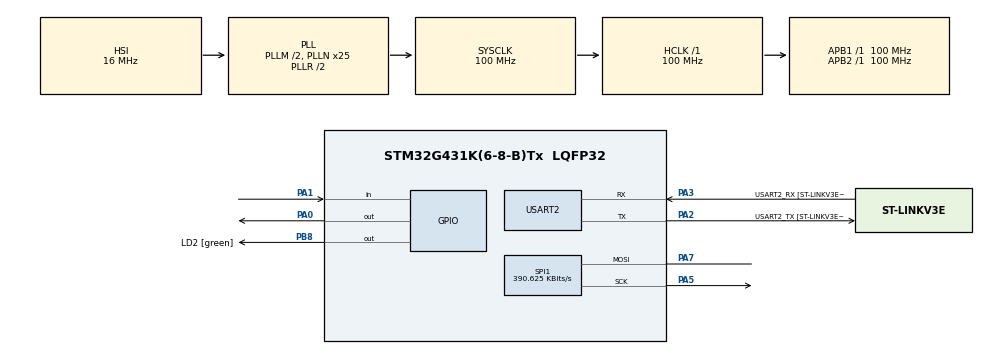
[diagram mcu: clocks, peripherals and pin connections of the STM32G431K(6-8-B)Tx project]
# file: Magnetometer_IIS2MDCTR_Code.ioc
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Mcu.Family=STM32G4
Mcu.Name=STM32G431K(6-8-B)Tx
Mcu.Package=LQFP32
NVIC.PriorityGroup=NVIC_PRIORITYGROUP_4
PA0.Signal=GPIO_Output
PA1.Signal=GPIO_Input
PA13.GPIO_Label=T_SWDIO
PA13.Mode=Serial_Wire
PA13.Signal=SYS_JTMS-SWDIO
PA14.GPIO_Label=T_SWCLK
PA14.Mode=Serial_Wire
PA14.Signal=SYS_JTCK-SWCLK
PA2.GPIO_Label=USART2_TX [ST-LINKV3E_VCP_RX]
PA2.Mode=Asynchronous
PA2.Signal=USART2_TX
PA3.GPIO_Label=USART2_RX [ST-LINKV3E_VCP_TX]
PA3.Mode=Asynchronous
PA3.Signal=USART2_RX
PA5.Mode=Simplex_Bidirectional_Master
PA5.Signal=SPI1_SCK
PA7.Mode=Simplex_Bidirectional_Master
PA7.Signal=SPI1_MOSI
PB3.GPIO_Label=T_SWO
PB3.Signal=SYS_JTDO-SWO
PB8-BOOT0.GPIO_Label=LD2 [green]
PB8-BOOT0.Signal=GPIO_Output
ProjectManager.HeapSize=0x200
ProjectManager.StackSize=0x400
ProjectManager.TargetToolchain=STM32CubeIDE
RCC.ADC12Freq_Value=100000000
RCC.AHBFreq_Value=100000000
RCC.APB1Freq_Value=100000000
RCC.APB1TimFreq_Value=100000000
RCC.APB2Freq_Value=100000000
RCC.APB2TimFreq_Value=100000000
RCC.CortexFreq_Value=100000000
RCC.EXTERNAL_CLOCK_VALUE=12288000
RCC.HCLKFreq_Value=100000000
RCC.HSE_VALUE=8000000
RCC.HSI48_VALUE=48000000
RCC.HSI_VALUE=16000000
RCC.LSE_VALUE=32768
RCC.PLLM=RCC_PLLM_DIV2
RCC.PLLN=25
RCC.SYSCLKFreq_VALUE=100000000
RCC.SYSCLKSource=RCC_SYSCLKSOURCE_PLLCLK
RCC.USBFreq_Value=100000000
RCC.VCOOutputFreq_Value=200000000
SPI1.BaudRatePrescaler=SPI_BAUDRATEPRESCALER_256
SPI1.CLKPhase=SPI_PHASE_2EDGE
SPI1.CLKPolarity=SPI_POLARITY_HIGH
SPI1.CalculateBaudRate=390.625 KBits/s
SPI1.DataSize=SPI_DATASIZE_8BIT
SPI1.Direction=SPI_DIRECTION_1LINE
SPI1.Mode=SPI_MODE_MASTER
SPI1.VirtualType=VM_MASTER
USART2.VirtualMode-Asynchronous=VM_ASYNC
USART2.WordLength=WORDLENGTH_8B
board=NUCLEO-G431KB

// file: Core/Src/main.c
/* USER CODE BEGIN Header */
/**
  ******************************************************************************
  * @file           : main.c
  * @brief          : Main program body
  ******************************************************************************
  * @attention
  *
  * Copyright (c) 2023 STMicroelectronics.
  * All rights reserved.
  *
  * This software is licensed under terms that can be found in the LICENSE file
  * in the root directory of this software component.
  * If no LICENSE file comes with this software, it is provided AS-IS.
  *
  ******************************************************************************
  */
/* USER CODE END Header */
#include "main.h"

SPI_HandleTypeDef hspi1;

UART_HandleTypeDef huart2;

/* USER CODE BEGIN PV */
#define IIS2_ADDR 0x1E
#define OUTX_L 0x68
#define OUTY_L 0x6A
#define OUTZ_L 0x6C
#define CFG_REG_A 0x60
#define CFG_REG_B 0x61
#define CFG_REG_C 0x62
/* USER CODE END PV */

void SystemClock_Config(void);
static void MX_GPIO_Init(void);
static void MX_USART2_UART_Init(void);
static void MX_SPI1_Init(void);
/* USER CODE BEGIN PFP */
void UART_PRINT_VAL(double value);
void UART_PRINT_TEXT(uint8_t* MSG);
void IIS2_INIT(void);
int IIS2_GET_DATA(uint8_t addr, uint16_t dataSize);
/* USER CODE END PFP */

int main(void)
{

  /* MCU Configuration--------------------------------------------------------*/

  /* Reset of all peripherals, Initializes the Flash interface and the Systick. */
  HAL_Init();

  /* Configure the system clock */
  SystemClock_Config();

  /* Initialize all configured peripherals */
  MX_GPIO_Init();
  MX_USART2_UART_Init();
  MX_SPI1_Init();
  /* USER CODE BEGIN 2 */

  uint16_t xData = 0;
  uint16_t yData = 0;
  uint16_t zData = 0;
  double xDataRef = 0;
  double yDataRef = 0;
  double zDataRef = 0;

  /* USER CODE END 2 */

  /* Infinite loop */
  /* USER CODE BEGIN WHILE */
  while (1)
  {
	  IIS2_INIT();

	  //if (HAL_GPIO_ReadPin(GPIOA, GPIO_PIN_1)){
	  xData = IIS2_GET_DATA(OUTX_L, 2);
	  //yData = IIS2_GET_DATA(OUTY_L, 2);
	  //zData = IIS2_GET_DATA(OUTZ_L, 2);
	  xDataRef = xData*.15;
	  //yDataRef = yData*.15;
	  //zDataRef = zData*.15;
	  UART_PRINT_TEXT("xData : ");
	  UART_PRINT_VAL(xDataRef);
	  UART_PRINT_TEXT("\n");
	  HAL_Delay(5);
	  //}
	  /*UART_PRINT_VAL("yData :");
	  UART_PRINT_VAL(yDataRef);
	  UART_PRINT_VAL("zData :");
	  UART_PRINT_VAL(zDataRef);*/

    /* USER CODE END WHILE */

  }
}

void SystemClock_Config(void)
{
  RCC_OscInitTypeDef RCC_OscInitStruct = {0};
  RCC_ClkInitTypeDef RCC_ClkInitStruct = {0};

  /** Configure the main internal regulator output voltage
  */
  HAL_PWREx_ControlVoltageScaling(PWR_REGULATOR_VOLTAGE_SCALE1);

  /** Initializes the RCC Oscillators according to the specified parameters
  * in the RCC_OscInitTypeDef structure.
  */
  RCC_OscInitStruct.OscillatorType = RCC_OSCILLATORTYPE_HSI;
  RCC_OscInitStruct.HSIState = RCC_HSI_ON;
  RCC_OscInitStruct.HSICalibrationValue = RCC_HSICALIBRATION_DEFAULT;
  RCC_OscInitStruct.PLL.PLLState = RCC_PLL_ON;
  RCC_OscInitStruct.PLL.PLLSource = RCC_PLLSOURCE_HSI;
  RCC_OscInitStruct.PLL.PLLM = RCC_PLLM_DIV2;
  RCC_OscInitStruct.PLL.PLLN = 25;
  RCC_OscInitStruct.PLL.PLLP = RCC_PLLP_DIV2;
  RCC_OscInitStruct.PLL.PLLQ = RCC_PLLQ_DIV2;
  RCC_OscInitStruct.PLL.PLLR = RCC_PLLR_DIV2;
  if (HAL_RCC_OscConfig(&RCC_OscInitStruct) != HAL_OK)
  {
    Error_Handler();
  }

  /** Initializes the CPU, AHB and APB buses clocks
  */
  RCC_ClkInitStruct.ClockType = RCC_CLOCKTYPE_HCLK|RCC_CLOCKTYPE_SYSCLK
                              |RCC_CLOCKTYPE_PCLK1|RCC_CLOCKTYPE_PCLK2;
  RCC_ClkInitStruct.SYSCLKSource = RCC_SYSCLKSOURCE_PLLCLK;
  RCC_ClkInitStruct.AHBCLKDivider = RCC_SYSCLK_DIV1;
  RCC_ClkInitStruct.APB1CLKDivider = RCC_HCLK_DIV1;
  RCC_ClkInitStruct.APB2CLKDivider = RCC_HCLK_DIV1;

  if (HAL_RCC_ClockConfig(&RCC_ClkInitStruct, FLASH_LATENCY_3) != HAL_OK)
  {
    Error_Handler();
  }
}

static void MX_SPI1_Init(void)
{

  /* SPI1 parameter configuration*/
  hspi1.Instance = SPI1;
  hspi1.Init.Mode = SPI_MODE_MASTER;
  hspi1.Init.Direction = SPI_DIRECTION_1LINE;
  hspi1.Init.DataSize = SPI_DATASIZE_8BIT;
  hspi1.Init.CLKPolarity = SPI_POLARITY_HIGH;
  hspi1.Init.CLKPhase = SPI_PHASE_2EDGE;
  hspi1.Init.NSS = SPI_NSS_SOFT;
  hspi1.Init.BaudRatePrescaler = SPI_BAUDRATEPRESCALER_256;
  hspi1.Init.FirstBit = SPI_FIRSTBIT_MSB;
  hspi1.Init.TIMode = SPI_TIMODE_DISABLE;
  hspi1.Init.CRCCalculation = SPI_CRCCALCULATION_DISABLE;
  hspi1.Init.CRCPolynomial = 7;
  hspi1.Init.CRCLength = SPI_CRC_LENGTH_DATASIZE;
  hspi1.Init.NSSPMode = SPI_NSS_PULSE_DISABLE;
  if (HAL_SPI_Init(&hspi1) != HAL_OK)
  {
    Error_Handler();
  }

}

static void MX_USART2_UART_Init(void)
{

  huart2.Instance = USART2;
  huart2.Init.BaudRate = 115200;
  huart2.Init.WordLength = UART_WORDLENGTH_8B;
  huart2.Init.StopBits = UART_STOPBITS_1;
  huart2.Init.Parity = UART_PARITY_NONE;
  huart2.Init.Mode = UART_MODE_TX_RX;
  huart2.Init.HwFlowCtl = UART_HWCONTROL_NONE;
  huart2.Init.OverSampling = UART_OVERSAMPLING_16;
  huart2.Init.OneBitSampling = UART_ONE_BIT_SAMPLE_DISABLE;
  huart2.Init.ClockPrescaler = UART_PRESCALER_DIV1;
  huart2.AdvancedInit.AdvFeatureInit = UART_ADVFEATURE_NO_INIT;
  if (HAL_UART_Init(&huart2) != HAL_OK)
  {
    Error_Handler();
  }
  if (HAL_UARTEx_SetTxFifoThreshold(&huart2, UART_TXFIFO_THRESHOLD_1_8) != HAL_OK)
  {
    Error_Handler();
  }
  if (HAL_UARTEx_SetRxFifoThreshold(&huart2, UART_RXFIFO_THRESHOLD_1_8) != HAL_OK)
  {
    Error_Handler();
  }
  if (HAL_UARTEx_DisableFifoMode(&huart2) != HAL_OK)
  {
    Error_Handler();
  }

}

static void MX_GPIO_Init(void)
{
  GPIO_InitTypeDef GPIO_InitStruct = {0};

  /* GPIO Ports Clock Enable */
  __HAL_RCC_GPIOA_CLK_ENABLE();
  __HAL_RCC_GPIOB_CLK_ENABLE();

  /*Configure GPIO pin Output Level */
  HAL_GPIO_WritePin(GPIOA, GPIO_PIN_0, GPIO_PIN_RESET);

  /*Configure GPIO pin Output Level */
  HAL_GPIO_WritePin(LD2_GPIO_Port, LD2_Pin, GPIO_PIN_RESET);

  /*Configure GPIO pin : PA0 */
  GPIO_InitStruct.Pin = GPIO_PIN_0;
  GPIO_InitStruct.Mode = GPIO_MODE_OUTPUT_PP;
  GPIO_InitStruct.Pull = GPIO_NOPULL;
  GPIO_InitStruct.Speed = GPIO_SPEED_FREQ_LOW;
  HAL_GPIO_Init(GPIOA, &GPIO_InitStruct);

  /*Configure GPIO pin : PA1 */
  GPIO_InitStruct.Pin = GPIO_PIN_1;
  GPIO_InitStruct.Mode = GPIO_MODE_INPUT;
  GPIO_InitStruct.Pull = GPIO_NOPULL;
  HAL_GPIO_Init(GPIOA, &GPIO_InitStruct);

  /*Configure GPIO pin : LD2_Pin */
  GPIO_InitStruct.Pin = LD2_Pin;
  GPIO_InitStruct.Mode = GPIO_MODE_OUTPUT_PP;
  GPIO_InitStruct.Pull = GPIO_NOPULL;
  GPIO_InitStruct.Speed = GPIO_SPEED_FREQ_LOW;
  HAL_GPIO_Init(LD2_GPIO_Port, &GPIO_InitStruct);

}

/* USER CODE BEGIN 4 */
void UART_PRINT_VAL(double value){
    char total[50];
    char temp[10];
    if(value < 0){
       UART_PRINT_TEXT("-");
    }
    sprintf(total, "%i", abs((int)value));
    strcat(total, ".");
    double currentVal = (value - (int) value);
    for(int a=0;a<6;a++){
        currentVal *= 10;
        sprintf(temp, "%i", abs((int)currentVal));
        strcat(total, temp);
        currentVal -= (int)currentVal;
    }
    HAL_UART_Transmit(&huart2, total, strlen(total), 100);
}
void UART_PRINT_TEXT(uint8_t* MSG){
	HAL_UART_Transmit(&huart2, MSG, strlen(MSG), 100);
}

void IIS2_INIT(void){
	uint8_t data1[2] = {CFG_REG_A, 0x8c};
	uint8_t data2[2] = {CFG_REG_B, 0x01};
	uint8_t data3[2] = {CFG_REG_C, 0x21};
	HAL_GPIO_WritePin(GPIOA, GPIO_PIN_0, GPIO_PIN_RESET);
	HAL_SPI_Transmit(&hspi1, data1, 2, 100); // TEMP COMP, 100Hz, CONTINUOUS MODE
	HAL_SPI_Transmit(&hspi1, data2, 2, 100); // ENABLE LPF
	HAL_SPI_Transmit(&hspi1, data3, 2, 100); // DATA READY INT, DISABLE I2C
	HAL_GPIO_WritePin(GPIOA, GPIO_PIN_0, GPIO_PIN_SET);
}
int IIS2_GET_DATA(uint8_t addr, uint16_t dataSize){
	int val = 0;
	uint16_t value = 0;
	uint8_t sendData[1] = {0x80 | addr};
	uint8_t receiveData[2];
	HAL_GPIO_WritePin(GPIOA, GPIO_PIN_0, GPIO_PIN_RESET);
	HAL_SPI_Transmit(&hspi1, sendData, 1, 100);
	HAL_SPI_Receive(&hspi1, receiveData, 2, 100);
	HAL_GPIO_WritePin(GPIOA, GPIO_PIN_0, GPIO_PIN_SET);
	value = (receiveData[1] << 8 | receiveData[0]);
	if(value > 0x7fff){
		value = value - 0x01;
		value = ~value;
		val = -value;
	}
	else{
		val = value;
	}
	return val;
}

/* USER CODE END 4 */

void Error_Handler(void)
{
  __disable_irq();
  while (1)
  {
  }
}
